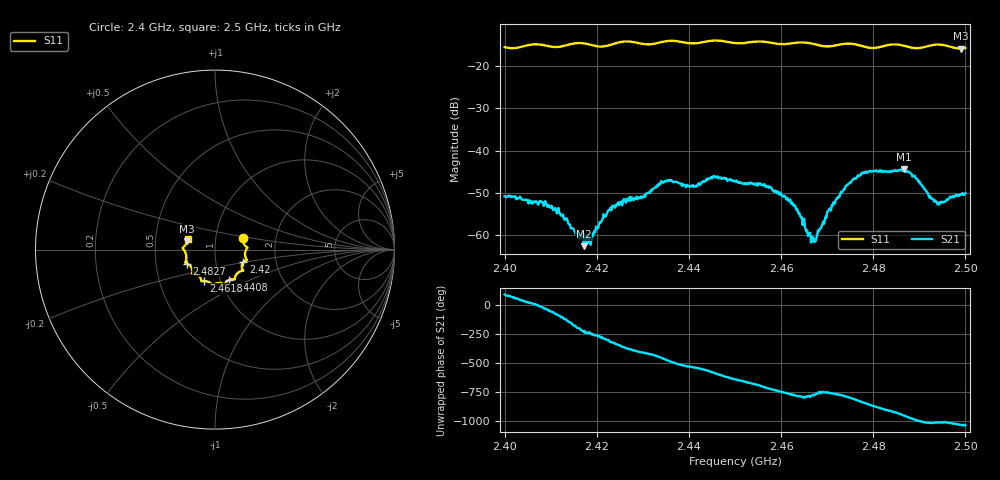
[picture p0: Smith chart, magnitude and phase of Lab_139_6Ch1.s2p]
# Hz S RI R 50
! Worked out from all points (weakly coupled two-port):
!   601 points, 2.4 GHz to 2.5 GHz, reference 50 ohm
!   highest |S21| = -44.42 dB at 2.4867 GHz (marker M1); lowest = -62.6 dB at 2.4172 GHz (marker M2)
!   lowest |S11| = -15.8 dB at 2.499 GHz (marker M3), VSWR 1.39, Z = 36.5 + j3.51 ohm
!   |S11| at or under -10 dB: start of sweep to end of sweep
!   S12 and S22 are empty: the file has one direction only
!   S11 on the Smith chart (normalised r, x): 2.4 GHz: 1.36, +0.17; 2.42 GHz: 1.36, -0.19; 2.4408 GHz: 1.10, -0.38; 2.4618 GHz: 0.84, -0.30; 2.4827 GHz: 0.72, -0.12; 2.5 GHz: 0.73, +0.09
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2.4e9  0.1561 0.062  -7.72e-05 0.00288  0 0  0 0
2.4085e9  0.1772 0.00585  0.00199 -0.000981  0 0  0 0
2.416667e9  0.178 -0.0595  -0.000729 0.000576  0 0  0 0
2.417167e9  0.1766 -0.0599  -0.000467 0.000574  0 0  0 0
2.418667e9  0.1681 -0.0623  -0.00031 0.000702  0 0  0 0
2.42e9  0.1578 -0.0692  -0.000195 0.00116  0 0  0 0
2.423333e9  0.1499 -0.1018  0.0017 0.0014  0 0  0 0
2.433333e9  0.112 -0.152  0.000226 -0.00384  0 0  0 0
2.440833e9  0.0788 -0.1688  -0.0039 -0.000239  0 0  0 0
2.445667e9  0.0522 -0.1946  -0.0031 0.00371  0 0  0 0
2.45e9  0.028 -0.1857  0.000961 0.00427  0 0  0 0
2.456667e9  -0.017 -0.1933  0.00368 0.000433  0 0  0 0
2.461833e9  -0.0603 -0.1749  0.00164 -0.00198  0 0  0 0
2.466667e9  -0.0769 -0.1685  0.000408 -0.00074  0 0  0 0
2.467667e9  -0.0794 -0.1609  0.00061 -0.0007  0 0  0 0
2.4755e9  -0.1267 -0.1333  7.52e-05 -0.00449  0 0  0 0
2.482667e9  -0.1573 -0.078  -0.00569 0.000653  0 0  0 0
2.483333e9  -0.1613 -0.0764  -0.0055 0.00132  0 0  0 0
2.486667e9  -0.1626 -0.0636  -0.00335 0.005  0 0  0 0
2.493833e9  -0.1802 0.00767  0.00109 0.00217  0 0  0 0
2.499e9  -0.1545 0.0469  0.00217 0.00209  0 0  0 0
2.5e9  -0.152 0.0617  0.00246 0.00195  0 0  0 0
